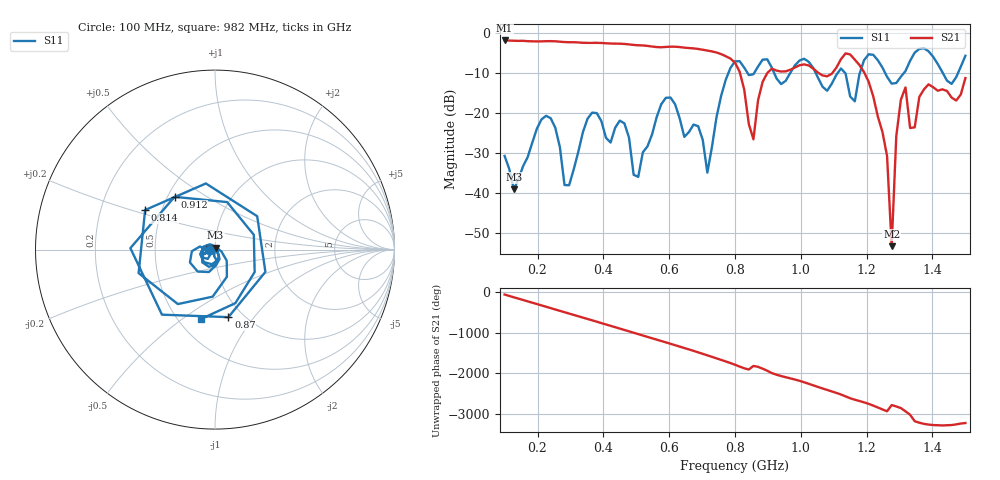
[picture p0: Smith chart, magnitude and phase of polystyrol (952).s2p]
! NanoVNA-App
! Date: 2025-09-25 15:37:17
! Start: 100MHz Stop: 1,5GHz Points: 101
! S-Parameter data: F S11 S21 S12 S22
# Hz S RI R 50
!  Frequency  S11_Real  S11_Imag  S21_Real  S21_Imag  S12_Real  S12_Imag  S22_Real  S22_Imag
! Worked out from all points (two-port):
!   101 points, 100 MHz to 1.5 GHz, reference 50 ohm
!   highest |S21| = -1.80 dB at 100 MHz (marker M1); lowest = -53.3 dB at 1.276 GHz (marker M2)
!   |S21| within 3 dB of the highest: start of sweep to 743.1 MHz
!   lowest |S11| = -39.1 dB at 128 MHz (marker M3), VSWR 1.02, Z = 50.3 + j1.06 ohm
!   |S11| at or under -10 dB: start of sweep to 779.7 MHz; 1.046 GHz to 1.112 GHz (66.09 MHz wide, 6.13 % of centre); 1.135 GHz to 1.179 GHz (43.84 MHz wide, 3.79 % of centre) (the widest 3 of 7)
!   S12 and S22 are empty: the file has one direction only
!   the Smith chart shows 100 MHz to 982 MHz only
!   S11 on the Smith chart (normalised r, x): 100 MHz: 0.94, -0.01; 814 MHz: 0.40, +0.22; 870 MHz: 0.85, -0.75; 912 MHz: 0.54, +0.37; 982 MHz: 0.64, -0.59
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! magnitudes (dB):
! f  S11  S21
! 100 MHz  -30.7  -1.8
! 128 MHz  -39.1  -1.9
! 212 MHz  -21.6  -2.0
! 282 MHz  -38.0  -2.2
! 338 MHz  -24.7  -2.4
! 506 MHz  -35.9  -3.0
! 576 MHz  -17.7  -3.5
! 716 MHz  -34.9  -4.3
! 800 MHz  -7.0  -7.4
! 814 MHz  -7.0  -9.6
! 856 MHz  -10.3  -26.5
! 870 MHz  -8.3  -16.8
! 912 MHz  -8.6  -8.9
! 982 MHz  -8.0  -8.6
! 1.038 GHz  -8.7  -8.9
! 1.164 GHz  -17.0  -6.6
! 1.206 GHz  -5.3  -12.1
! 1.262 GHz  -10.9  -30.7
! 1.276 GHz  -12.6  -53.3
! 1.29 GHz  -12.5  -25.8
! 1.318 GHz  -9.5  -13.6
! 1.5 GHz  -5.6  -11.2
